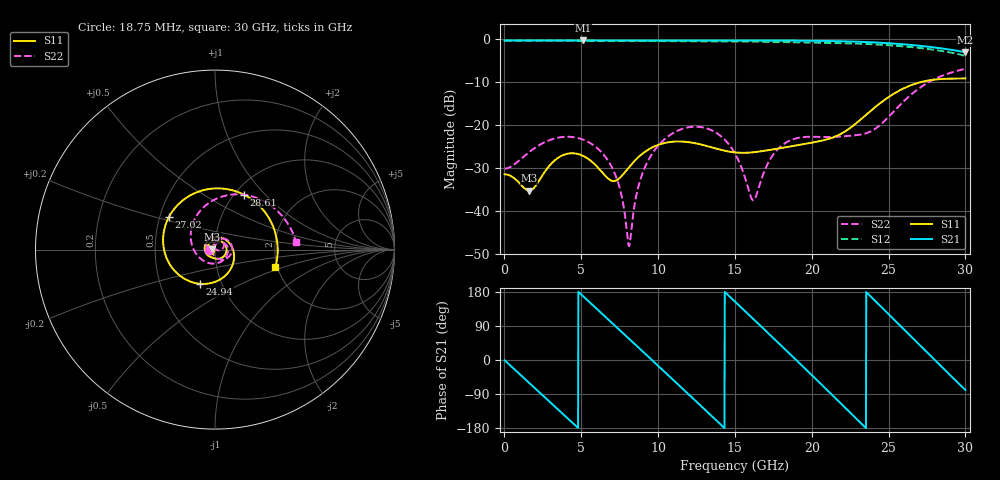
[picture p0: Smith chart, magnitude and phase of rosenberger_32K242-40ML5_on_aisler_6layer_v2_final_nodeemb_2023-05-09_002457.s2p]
#  Hz  S  RI  R  50
! comment_to_be_done
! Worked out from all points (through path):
!   1600 points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, 18.75 MHz to 30 GHz, reference 50 ohm
!   highest |S21| = -0.28 dB at 5.119 GHz (marker M1); lowest = -3.0 dB at 30 GHz (marker M2)
!   group delay of S21, straight-line fit = 107 ps
!   lowest |S11| = -35.2 dB at 1.613 GHz (marker M3), VSWR 1.04, Z = 48.3 + j0.193 ohm
!   |S11| at or under -10 dB: start of sweep to 27.07 GHz
!   |S22| runs from -48.2 to -6.9 dB; largest |S21 - S12| = 0.071
!   S11 on the Smith chart (normalised r, x): 18.75 MHz: 0.95, +0.00; 24.94 GHz: 0.79, -0.31; 27.02 GHz: 0.56, +0.22; 28.61 GHz: 1.10, +0.77; 30 GHz: 1.95, -0.43
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1.875e7  -0.0268 0.000211  0.9668 -0.0118  0.9684 -0.012  -0.0311 -3.47e-05
1.6125e9  -0.0172 0.00199  0.4794 -0.838  0.481 -0.8389  -0.0465 0.0138
3.13125e9  -0.0366 0.00337  -0.4365 -0.8618  -0.4376 -0.8589  -0.0321 0.0608
5.025e9  -0.0178 0.041  -0.9592 0.1313  -0.9518 0.1318  0.0397 0.0563
5.11875e9  -0.0154 0.0412  -0.9493 0.1899  -0.942 0.1897  0.042 0.0534
7.0875e9  -0.000391 0.0223  -0.0805 0.964  -0.0799 0.9552  0.0298 -0.00336
8.11875e9  -0.00432 0.0322  0.5412 0.8019  0.5361 0.793  0.00267 0.00285
1.00125e10  0.0425 0.0409  0.9326 -0.2586  0.917 -0.2558  0.0142 0.056
1.23e10  0.0511 -0.0354  -0.2063 -0.9452  -0.1996 -0.923  0.0945 0.0161
1.37625e10  0.0132 -0.0518  -0.8971 -0.3602  -0.8725 -0.3554  0.0664 -0.048
1.501875e10  -0.00953 -0.0472  -0.8662 0.4273  -0.846 0.4128  0.00722 -0.0458
1.618125e10  -0.0258 -0.0409  -0.3145 0.9123  -0.3071 0.8869  -0.0133 0.00136
1.715625e10  -0.0401 -0.0316  0.3084 0.9138  0.2997 0.8842  0.00928 0.0348
1.865625e10  -0.0566 -0.00188  0.938 0.2171  0.8996 0.2072  0.0607 0.0287
2.000625e10  -0.0466 0.0417  0.7365 -0.615  0.703 -0.5832  0.0729 -0.00636
2.145e10  0.0222 0.0692  -0.1144 -0.9452  -0.1004 -0.8975  0.0621 -0.0384
2.295e10  0.1051 -0.0214  -0.8604 -0.3712  -0.8124 -0.3618  0.0157 -0.075
2.49375e10  -0.0853 -0.1903  -0.4984 0.7506  -0.4777 0.7071  -0.1215 0.00632
2.50125e10  -0.0993 -0.1884  -0.4573 0.7743  -0.4387 0.7299  -0.1247 0.0146
2.701875e10  -0.2568 0.1814  0.6457 0.5374  0.6101 0.5056  -0.0181 0.2701
2.86125e10  0.1601 0.3067  0.7074 -0.3177  0.6548 -0.3069  0.2733 0.2691
3e10  0.3368 -0.0966  0.133 -0.6946  0.1004 -0.6316  0.4508 0.044
